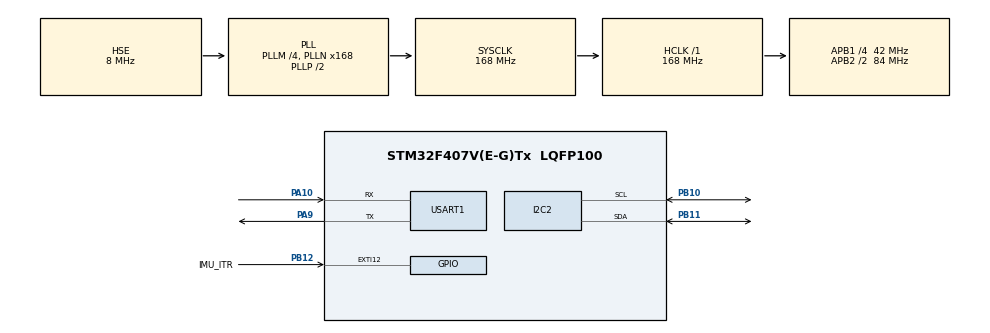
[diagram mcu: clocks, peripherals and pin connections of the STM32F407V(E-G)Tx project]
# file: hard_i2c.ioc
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FREERTOS.Events01=imu_event,Static,imu_eventControlBlock
FREERTOS.INCLUDE_vTaskCleanUpResources=1
FREERTOS.INCLUDE_xEventGroupSetBitFromISR=1
FREERTOS.Tasks01=defaultTask,8,256,StartDefaultTask,Default,NULL,Static,defaultTaskBuffer,defaultTaskControlBlock;imu_thread,8,256,imu_task_entry,As weak,NULL,Static,imu_threadBuffer,imu_threadControlBlock
FREERTOS.configCHECK_FOR_STACK_OVERFLOW=2
FREERTOS.configENABLE_FPU=1
FREERTOS.configGENERATE_RUN_TIME_STATS=1
FREERTOS.configMINIMAL_STACK_SIZE=256
FREERTOS.configRECORD_STACK_HIGH_ADDRESS=1
FREERTOS.configTIMER_QUEUE_LENGTH=10
FREERTOS.configTIMER_TASK_STACK_DEPTH=6144
FREERTOS.configTOTAL_HEAP_SIZE=12288
FREERTOS.configUSE_APPLICATION_TASK_TAG=1
FREERTOS.configUSE_DAEMON_TASK_STARTUP_HOOK=1
FREERTOS.configUSE_IDLE_HOOK=1
FREERTOS.configUSE_MALLOC_FAILED_HOOK=1
FREERTOS.configUSE_NEWLIB_REENTRANT=1
FREERTOS.configUSE_POSIX_ERRNO=1
FREERTOS.configUSE_STATS_FORMATTING_FUNCTIONS=1
FREERTOS.configUSE_TICK_HOOK=1
Mcu.Family=STM32F4
Mcu.Name=STM32F407V(E-G)Tx
Mcu.Package=LQFP100
Mcu.UserConstants=log_huart,$$_USART1_IP_HANDLE_$$;imu_hi2c,$$_I2C2_IP_HANDLE_$$
NVIC.PriorityGroup=NVIC_PRIORITYGROUP_4
NVIC.TIM8_TRG_COM_TIM14_IRQn=true\:15\:0\:false\:false\:true\:false\:false\:true\:true
NVIC.TimeBase=TIM8_TRG_COM_TIM14_IRQn
NVIC.TimeBaseIP=TIM14
PA10.Mode=Asynchronous
PA10.Signal=USART1_RX
PA13.Mode=Serial_Wire
PA13.Signal=SYS_JTMS-SWDIO
PA14.Mode=Serial_Wire
PA14.Signal=SYS_JTCK-SWCLK
PA9.Mode=Asynchronous
PA9.Signal=USART1_TX
PB10.Mode=I2C
PB10.Signal=I2C2_SCL
PB11.Mode=I2C
PB11.Signal=I2C2_SDA
PB12.GPIO_Label=IMU_ITR
PB12.Signal=GPXTI12
PH0-OSC_IN.Mode=HSE-External-Oscillator
PH0-OSC_IN.Signal=RCC_OSC_IN
PH1-OSC_OUT.Mode=HSE-External-Oscillator
PH1-OSC_OUT.Signal=RCC_OSC_OUT
ProjectManager.HeapSize=0x800
ProjectManager.StackSize=0x2400
ProjectManager.TargetToolchain=CMake
RCC.48MHZClocksFreq_Value=48000000
RCC.AHBFreq_Value=168000000
RCC.APB1CLKDivider=RCC_HCLK_DIV4
RCC.APB1Freq_Value=42000000
RCC.APB1TimFreq_Value=84000000
RCC.APB2CLKDivider=RCC_HCLK_DIV2
RCC.APB2Freq_Value=84000000
RCC.APB2TimFreq_Value=168000000
RCC.CortexFreq_Value=168000000
RCC.EnbaleCSS=true
RCC.HCLKFreq_Value=168000000
RCC.HSE_VALUE=8000000
RCC.HSI_VALUE=16000000
RCC.LSE_VALUE=32768
RCC.PLLM=4
RCC.PLLN=168
RCC.PLLQ=7
RCC.PLLSourceVirtual=RCC_PLLSOURCE_HSE
RCC.SYSCLKFreq_VALUE=168000000
RCC.SYSCLKSource=RCC_SYSCLKSOURCE_PLLCLK
RCC.VCOOutputFreq_Value=336000000
USART1.VirtualMode=VM_ASYNC
VP_FREERTOS_VS_CMSIS_V2.Mode=CMSIS_V2
VP_SYS_VS_tim14.Mode=TIM14
board=custom

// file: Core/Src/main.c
/* USER CODE BEGIN Header */
/**
  ******************************************************************************
  * @file           : main.c
  * @brief          : Main program body
  ******************************************************************************
  * @attention
  *
  * Copyright (c) 2024 STMicroelectronics.
  * All rights reserved.
  *
  * This software is licensed under terms that can be found in the LICENSE file
  * in the root directory of this software component.
  * If no LICENSE file comes with this software, it is provided AS-IS.
  *
  ******************************************************************************
  */
/* USER CODE END Header */
#include "main.h"
#include "cmsis_os.h"
#include "i2c.h"
#include "usart.h"
#include "gpio.h"

/* USER CODE BEGIN Includes */
#define LOG_TAG "main"
#define LOG_LVL ELOG_LVL_DEBUG
#include "elog.h"
/* USER CODE END Includes */

void SystemClock_Config(void);
void MX_FREERTOS_Init(void);

int main(void)
{

  /* MCU Configuration--------------------------------------------------------*/

  /* Reset of all peripherals, Initializes the Flash interface and the Systick. */
  HAL_Init();

  /* Configure the system clock */
  SystemClock_Config();

  /* Initialize all configured peripherals */
  MX_GPIO_Init();
  MX_USART1_UART_Init();
  MX_I2C2_Init();

  /* Init scheduler */
  osKernelInitialize();  /* Call init function for freertos objects (in freertos.c) */
  MX_FREERTOS_Init();

  /* Start scheduler */
  osKernelStart();
  /* We should never get here as control is now taken by the scheduler */
  /* Infinite loop */
  while (1)
  {

  }
}

void SystemClock_Config(void)
{
  RCC_OscInitTypeDef RCC_OscInitStruct = {0};
  RCC_ClkInitTypeDef RCC_ClkInitStruct = {0};

  /** Configure the main internal regulator output voltage
  */
  __HAL_RCC_PWR_CLK_ENABLE();
  __HAL_PWR_VOLTAGESCALING_CONFIG(PWR_REGULATOR_VOLTAGE_SCALE1);

  /** Initializes the RCC Oscillators according to the specified parameters
  * in the RCC_OscInitTypeDef structure.
  */
  RCC_OscInitStruct.OscillatorType = RCC_OSCILLATORTYPE_HSE;
  RCC_OscInitStruct.HSEState = RCC_HSE_ON;
  RCC_OscInitStruct.PLL.PLLState = RCC_PLL_ON;
  RCC_OscInitStruct.PLL.PLLSource = RCC_PLLSOURCE_HSE;
  RCC_OscInitStruct.PLL.PLLM = 4;
  RCC_OscInitStruct.PLL.PLLN = 168;
  RCC_OscInitStruct.PLL.PLLP = RCC_PLLP_DIV2;
  RCC_OscInitStruct.PLL.PLLQ = 7;
  if (HAL_RCC_OscConfig(&RCC_OscInitStruct) != HAL_OK)
  {
    Error_Handler();
  }

  /** Initializes the CPU, AHB and APB buses clocks
  */
  RCC_ClkInitStruct.ClockType = RCC_CLOCKTYPE_HCLK|RCC_CLOCKTYPE_SYSCLK
                              |RCC_CLOCKTYPE_PCLK1|RCC_CLOCKTYPE_PCLK2;
  RCC_ClkInitStruct.SYSCLKSource = RCC_SYSCLKSOURCE_PLLCLK;
  RCC_ClkInitStruct.AHBCLKDivider = RCC_SYSCLK_DIV1;
  RCC_ClkInitStruct.APB1CLKDivider = RCC_HCLK_DIV4;
  RCC_ClkInitStruct.APB2CLKDivider = RCC_HCLK_DIV2;

  if (HAL_RCC_ClockConfig(&RCC_ClkInitStruct, FLASH_LATENCY_5) != HAL_OK)
  {
    Error_Handler();
  }

  /** Enables the Clock Security System
  */
  HAL_RCC_EnableCSS();
}

void HAL_TIM_PeriodElapsedCallback(TIM_HandleTypeDef *htim)
{
  if (htim->Instance == TIM14) {
    HAL_IncTick();
  }
}

void Error_Handler(void)
{
  /* USER CODE BEGIN Error_Handler_Debug */
  /* User can add his own implementation to report the HAL error return state */
  __disable_irq();
  log_e("Error_Handler\r\n");
  while (1)
  {
  }
  /* USER CODE END Error_Handler_Debug */
}

#ifdef  USE_FULL_ASSERT
/**
  * @brief  Reports the name of the source file and the source line number
  *         where the assert_param error has occurred.
  * @param  file: pointer to the source file name
  * @param  line: assert_param error line source number
  * @retval None
  */
void assert_failed(uint8_t *file, uint32_t line)
{
  /* USER CODE BEGIN 6 */
  log_e("Wrong parameters value: file %s on line %d\r\n", file, line);
  /* User can add his own implementation to report the file name and line number,
     ex: printf("Wrong parameters value: file %s on line %d\r\n", file, line) */
  /* USER CODE END 6 */
}
#endif /* USE_FULL_ASSERT */

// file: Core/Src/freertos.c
/* USER CODE BEGIN Header */
/**
  ******************************************************************************
  * File Name          : freertos.c
  * Description        : Code for freertos applications
  ******************************************************************************
  * @attention
  *
  * Copyright (c) 2024 STMicroelectronics.
  * All rights reserved.
  *
  * This software is licensed under terms that can be found in the LICENSE file
  * in the root directory of this software component.
  * If no LICENSE file comes with this software, it is provided AS-IS.
  *
  ******************************************************************************
  */
/* USER CODE END Header */

#include "FreeRTOS.h"
#include "task.h"
#include "main.h"
#include "cmsis_os.h"

/* USER CODE BEGIN Includes */
#include <string.h>
#define LOG_TAG "freertos"
#define LOG_LVL ELOG_LVL_VERBOSE
#include "elog.h"
/* USER CODE END Includes */

typedef StaticTask_t osStaticThreadDef_t;
typedef StaticEventGroup_t osStaticEventGroupDef_t;

/* Definitions for defaultTask */
osThreadId_t defaultTaskHandle;
uint32_t defaultTaskBuffer[ 256 ];
osStaticThreadDef_t defaultTaskControlBlock;
const osThreadAttr_t defaultTask_attributes = {
  .name = "defaultTask",
  .cb_mem = &defaultTaskControlBlock,
  .cb_size = sizeof(defaultTaskControlBlock),
  .stack_mem = &defaultTaskBuffer[0],
  .stack_size = sizeof(defaultTaskBuffer),
  .priority = (osPriority_t) osPriorityLow,
};
/* Definitions for imu_thread */
osThreadId_t imu_threadHandle;
uint32_t imu_threadBuffer[ 256 ];
osStaticThreadDef_t imu_threadControlBlock;
const osThreadAttr_t imu_thread_attributes = {
  .name = "imu_thread",
  .cb_mem = &imu_threadControlBlock,
  .cb_size = sizeof(imu_threadControlBlock),
  .stack_mem = &imu_threadBuffer[0],
  .stack_size = sizeof(imu_threadBuffer),
  .priority = (osPriority_t) osPriorityLow,
};
/* Definitions for imu_event */
osEventFlagsId_t imu_eventHandle;
osStaticEventGroupDef_t imu_eventControlBlock;
const osEventFlagsAttr_t imu_event_attributes = {
  .name = "imu_event",
  .cb_mem = &imu_eventControlBlock,
  .cb_size = sizeof(imu_eventControlBlock),
};

void StartDefaultTask(void *argument);
void imu_task_entry(void *argument);

void MX_FREERTOS_Init(void); /* (MISRA C 2004 rule 8.1) */

/* Hook prototypes */
void configureTimerForRunTimeStats(void);
unsigned long getRunTimeCounterValue(void);
void vApplicationIdleHook(void);
void vApplicationTickHook(void);
void vApplicationStackOverflowHook(xTaskHandle xTask, signed char *pcTaskName);
void vApplicationMallocFailedHook(void);
void vApplicationDaemonTaskStartupHook(void);

/* USER CODE BEGIN 1 */
/* Functions needed when configGENERATE_RUN_TIME_STATS is on */
__weak void configureTimerForRunTimeStats(void)
{
    // 启用DWT外设
    if (!(CoreDebug->DEMCR & CoreDebug_DEMCR_TRCENA_Msk)) {
        CoreDebug->DEMCR |= CoreDebug_DEMCR_TRCENA_Msk;
    }

    // 启用DWT计数�?
    DWT->CTRL |= DWT_CTRL_CYCCNTENA_Msk;

    // 重置计数�?
    DWT->CYCCNT = 0;
}

__weak unsigned long getRunTimeCounterValue(void)
{
    // 返回DWT计数器的当前�?
    return DWT->CYCCNT;
}
/* USER CODE END 1 */

/* USER CODE BEGIN 2 */
void vApplicationIdleHook( void )
{
   /* vApplicationIdleHook() will only be called if configUSE_IDLE_HOOK is set
   to 1 in FreeRTOSConfig.h. It will be called on each iteration of the idle
   task. It is essential that code added to this hook function never attempts
   to block in any way (for example, call xQueueReceive() with a block time
   specified, or call vTaskDelay()). If the application makes use of the
   vTaskDelete() API function (as this demo application does) then it is also
   important that vApplicationIdleHook() is permitted to return to its calling
   function, because it is the responsibility of the idle task to clean up
   memory allocated by the kernel to any task that has since been deleted. */

}
/* USER CODE END 2 */

/* USER CODE BEGIN 3 */
void vApplicationTickHook( void )
{
   /* This function will be called by each tick interrupt if
   configUSE_TICK_HOOK is set to 1 in FreeRTOSConfig.h. User code can be
   added here, but the tick hook is called from an interrupt context, so
   code must not attempt to block, and only the interrupt safe FreeRTOS API
   functions can be used (those that end in FromISR()). */
}
/* USER CODE END 3 */

/* USER CODE BEGIN 4 */
void vApplicationStackOverflowHook(xTaskHandle xTask, signed char *pcTaskName)
{
   /* Run time stack overflow checking is performed if
   configCHECK_FOR_STACK_OVERFLOW is defined to 1 or 2. This hook function is
   called if a stack overflow is detected. */
  (void)xTask;
  (void)pcTaskName;
  log_e("Stack Overflow! Task Name: %s", pcTaskName);
  configASSERT(0);
}
/* USER CODE END 4 */

/* USER CODE BEGIN 5 */
void vApplicationMallocFailedHook(void)
{
   /* vApplicationMallocFailedHook() will only be called if
   configUSE_MALLOC_FAILED_HOOK is set to 1 in FreeRTOSConfig.h. It is a hook
   function that will get called if a call to pvPortMalloc() fails.
   pvPortMalloc() is called internally by the kernel whenever a task, queue,
   timer or semaphore is created. It is also called by various parts of the
   demo application. If heap_1.c or heap_2.c are used, then the size of the
   heap available to pvPortMalloc() is defined by configTOTAL_HEAP_SIZE in
   FreeRTOSConfig.h, and the xPortGetFreeHeapSize() API function can be used
   to query the size of free heap space that remains (although it does not
   provide information on how the remaining heap might be fragmented). */
  log_e("Malloc Failed!");
}
/* USER CODE END 5 */

/* USER CODE BEGIN DAEMON_TASK_STARTUP_HOOK */
void vApplicationDaemonTaskStartupHook(void)
{
}
/* USER CODE END DAEMON_TASK_STARTUP_HOOK */

void MX_FREERTOS_Init(void) {
  /* USER CODE BEGIN Init */
  elog_init();

  elog_set_fmt(ELOG_LVL_ASSERT, ELOG_FMT_ALL & ~ELOG_FMT_P_INFO);
  elog_set_fmt(ELOG_LVL_ERROR, ELOG_FMT_LVL | ELOG_FMT_TAG | ELOG_FMT_TIME);
  elog_set_fmt(ELOG_LVL_WARN, ELOG_FMT_LVL | ELOG_FMT_TAG | ELOG_FMT_TIME);
  elog_set_fmt(ELOG_LVL_INFO, ELOG_FMT_LVL | ELOG_FMT_TAG | ELOG_FMT_TIME);
  elog_set_fmt(ELOG_LVL_DEBUG, ELOG_FMT_ALL & ~(ELOG_FMT_FUNC | ELOG_FMT_P_INFO));
  elog_set_fmt(ELOG_LVL_VERBOSE, ELOG_FMT_ALL & ~(ELOG_FMT_FUNC | ELOG_FMT_P_INFO));
  elog_start();
  /* USER CODE END Init */

  /* Create the thread(s) */
  /* creation of defaultTask */
  defaultTaskHandle = osThreadNew(StartDefaultTask, NULL, &defaultTask_attributes);

  /* creation of imu_thread */
  imu_threadHandle = osThreadNew(imu_task_entry, NULL, &imu_thread_attributes);

  /* Create the event(s) */
  /* creation of imu_event */
  imu_eventHandle = osEventFlagsNew(&imu_event_attributes);

}

void StartDefaultTask(void *argument)
{
  /* USER CODE BEGIN StartDefaultTask */
  static char task_info[256];
  /* Infinite loop */
  (void) argument;
  // debug log, turn on log level: ELOG_LEVEL_DEBUG at main.c
  log_d("Hello, EasyLogger!");
  for(;;)
  {
    // print the information of tasks
    memset(task_info, 0, sizeof(task_info));
    vTaskList(task_info);
    log_v("Task Info: \n%s\n%s", "Name\t\tState\tPriority\tStack\tNum", task_info);

    memset(task_info, 0, sizeof(task_info));
    vTaskGetRunTimeStats(task_info);
    log_v("Task Run Time Info: \n%s\n%s", "Task\t\tRun Time Counter\tPercentage", task_info);
    osDelay(10000);
  }
  /* USER CODE END StartDefaultTask */
}

__weak void imu_task_entry(void *argument)
{
  for(;;)
  {
    osDelay(1);
  }
}
